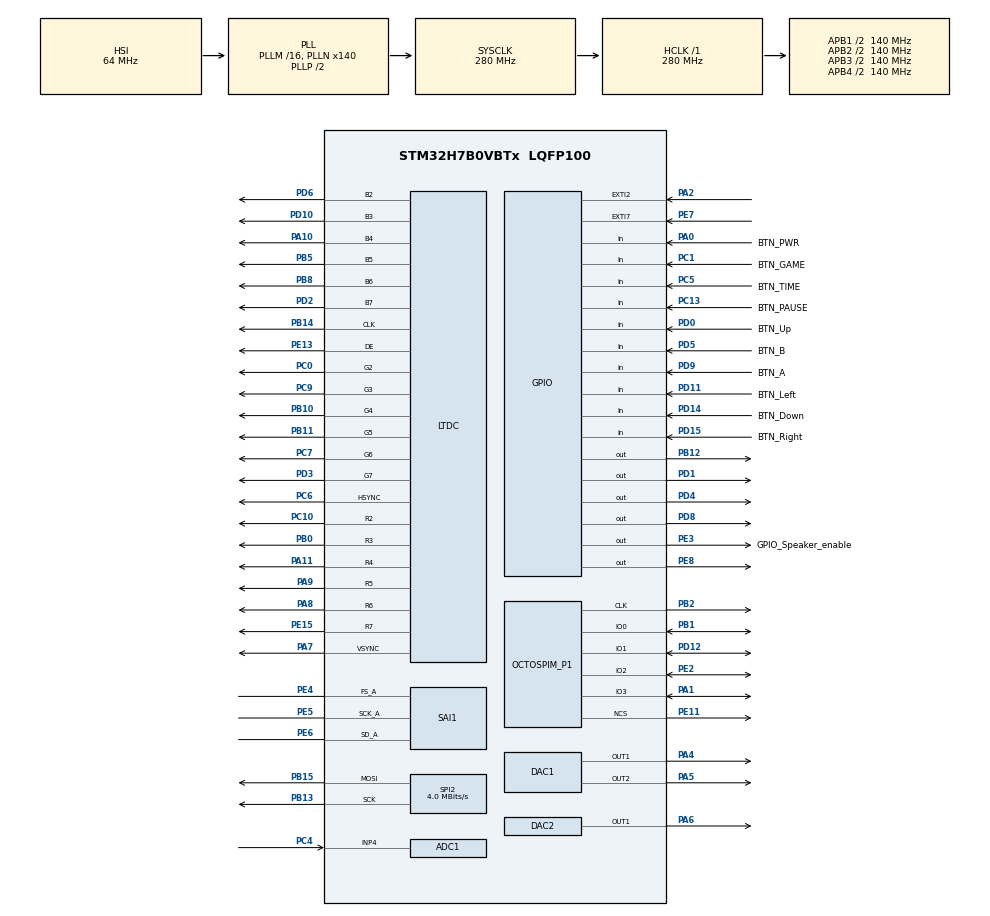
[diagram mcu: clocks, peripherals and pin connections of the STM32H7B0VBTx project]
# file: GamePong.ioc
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ADC1.Channel-1\#ChannelRegularConversion=ADC_CHANNEL_4
ADC1.NbrOfConversionFlag=1
ADC1.OffsetNumber-1\#ChannelRegularConversion=ADC_OFFSET_NONE
ADC1.OffsetSignedSaturation-1\#ChannelRegularConversion=DISABLE
ADC1.Rank-1\#ChannelRegularConversion=1
ADC1.SamplingTime-1\#ChannelRegularConversion=ADC_SAMPLETIME_1CYCLE_5
ADC1.master=1
CORTEX_M7.AccessPermission-Cortex_Memory_Protection_Unit_Region0_Settings=MPU_REGION_FULL_ACCESS
CORTEX_M7.AccessPermission-Cortex_Memory_Protection_Unit_Region1_Settings=MPU_REGION_FULL_ACCESS
CORTEX_M7.BaseAddress-Cortex_Memory_Protection_Unit_Region0_Settings=0x30000000
CORTEX_M7.BaseAddress-Cortex_Memory_Protection_Unit_Region1_Settings=0x24000000
CORTEX_M7.CPU_ICache=Disabled
CORTEX_M7.DisableExec-Cortex_Memory_Protection_Unit_Region0_Settings=MPU_INSTRUCTION_ACCESS_DISABLE
CORTEX_M7.DisableExec-Cortex_Memory_Protection_Unit_Region1_Settings=MPU_INSTRUCTION_ACCESS_DISABLE
CORTEX_M7.Enable-Cortex_Memory_Protection_Unit_Region0_Settings=MPU_REGION_ENABLE
CORTEX_M7.Enable-Cortex_Memory_Protection_Unit_Region1_Settings=MPU_REGION_ENABLE
CORTEX_M7.MPU_Control=__NULL
CORTEX_M7.Size-Cortex_Memory_Protection_Unit_Region0_Settings=MPU_REGION_SIZE_128KB
CORTEX_M7.Size-Cortex_Memory_Protection_Unit_Region1_Settings=MPU_REGION_SIZE_512KB
DAC1.DAC_Channel-DAC_OUT1=DAC_CHANNEL_1
DAC1.DAC_Channel-DAC_OUT2=DAC_CHANNEL_2
DAC2.DAC_Channel-DAC_OUT1=DAC_CHANNEL_1
DMA2D.ColorMode=DMA2D_OUTPUT_RGB565
DMA2D.Mode=DMA2D_R2M
Dma.Request0=SAI1_A
Dma.SAI1_A.0.Direction=DMA_MEMORY_TO_PERIPH
Dma.SAI1_A.0.EventEnable=DISABLE
Dma.SAI1_A.0.FIFOMode=DMA_FIFOMODE_ENABLE
Dma.SAI1_A.0.FIFOThreshold=DMA_FIFO_THRESHOLD_FULL
Dma.SAI1_A.0.Instance=DMA1_Stream0
Dma.SAI1_A.0.MemBurst=DMA_MBURST_SINGLE
Dma.SAI1_A.0.MemDataAlignment=DMA_MDATAALIGN_HALFWORD
Dma.SAI1_A.0.MemInc=DMA_MINC_ENABLE
Dma.SAI1_A.0.Mode=DMA_CIRCULAR
Dma.SAI1_A.0.PeriphBurst=DMA_PBURST_SINGLE
Dma.SAI1_A.0.PeriphDataAlignment=DMA_PDATAALIGN_HALFWORD
Dma.SAI1_A.0.PeriphInc=DMA_PINC_DISABLE
Dma.SAI1_A.0.Polarity=HAL_DMAMUX_REQ_GEN_RISING
Dma.SAI1_A.0.Priority=DMA_PRIORITY_LOW
Dma.SAI1_A.0.RequestNumber=1
Dma.SAI1_A.0.SignalID=NONE
Dma.SAI1_A.0.SyncEnable=DISABLE
Dma.SAI1_A.0.SyncPolarity=HAL_DMAMUX_SYNC_NO_EVENT
Dma.SAI1_A.0.SyncRequestNumber=1
Dma.SAI1_A.0.SyncSignalID=NONE
LTDC.ActiveH=240
LTDC.ActiveW=320
LTDC.Alpha0_L0=255
LTDC.Alpha_L0=255
LTDC.FBStartAdress_L0=0x24000000
LTDC.Green_L0=255
LTDC.HBP=51
LTDC.HFP=12
LTDC.HSync=10
LTDC.ImageHeight_L0=240
LTDC.ImageWidth_L0=320
LTDC.Layers=0
LTDC.PCPolarity=LTDC_PCPOLARITY_IIPC
LTDC.PixelFormat_L0=LTDC_PIXEL_FORMAT_RGB565
LTDC.VBP=6
LTDC.VFP=8
LTDC.VSync=2
LTDC.WindowX1_L0=320
LTDC.WindowY1_L0=240
Mcu.Family=STM32H7
Mcu.Name=STM32H7B0VBTx
Mcu.Package=LQFP100
NVIC.ADC_IRQn=true\:0\:0\:false\:false\:true\:true\:true\:true
NVIC.DMA1_Stream0_IRQn=true\:0\:0\:false\:false\:true\:false\:true\:true
NVIC.EXTI2_IRQn=true\:0\:0\:false\:false\:true\:true\:true\:true
NVIC.EXTI9_5_IRQn=true\:0\:0\:false\:false\:true\:true\:true\:true
NVIC.LTDC_IRQn=true\:0\:0\:false\:false\:true\:true\:true\:true
NVIC.OCTOSPI1_IRQn=true\:0\:0\:false\:true\:true\:1\:true\:true\:true
NVIC.PriorityGroup=NVIC_PRIORITYGROUP_4
NVIC.SAI1_IRQn=true\:0\:0\:false\:false\:true\:true\:true\:true
NVIC.TIM1_UP_IRQn=true\:0\:0\:false\:false\:true\:true\:true\:true
OCTOSPI1.ChipSelectBoundary=0
OCTOSPI1.ChipSelectHighTime=2
OCTOSPI1.ClockMode=HAL_OSPI_CLOCK_MODE_0
OCTOSPI1.ClockPrescaler=1
OCTOSPI1.DeviceSize=24
OCTOSPI1.FifoThreshold=4
OCTOSPI1.FreeRunningClock=HAL_OSPI_FREERUNCLK_DISABLE
OCTOSPI1.MemoryType=HAL_OSPI_MEMTYPE_MACRONIX
PA0.GPIO_Label=BTN_PWR
PA0.Signal=GPIO_Input
PA1.Mode=OCTOSPI1_IOL_Port1L
PA1.Signal=OCTOSPIM_P1_IO3
PA10.Mode=RGB666
PA10.Signal=LTDC_B4
PA11.Mode=RGB666
PA11.Signal=LTDC_R4
PA2.GPIO_ModeDefaultEXTI=GPIO_MODE_IT_RISING_FALLING
PA2.Signal=GPXTI2
PA4.Signal=COMP_DAC11_group
PA5.Signal=COMP_DAC12_group
PA6.Signal=COMP_DAC21_group
PA7.Mode=RGB666
PA7.Signal=LTDC_VSYNC
PA8.Mode=RGB666
PA8.Signal=LTDC_R6
PA9.Mode=RGB666
PA9.Signal=LTDC_R5
PB0.Mode=RGB666
PB0.Signal=LTDC_R3
PB1.Mode=OCTOSPI1_IOL_Port1L
PB1.Signal=OCTOSPIM_P1_IO0
PB10.Mode=RGB666
PB10.Signal=LTDC_G4
PB11.Mode=RGB666
PB11.Signal=LTDC_G5
PB12.PinState=GPIO_PIN_SET
PB12.Signal=GPIO_Output
PB13.Mode=TX_Only_Simplex_Unidirect_Master
PB13.Signal=SPI2_SCK
PB14.Mode=RGB666
PB14.Signal=LTDC_CLK
PB15.Mode=TX_Only_Simplex_Unidirect_Master
PB15.Signal=SPI2_MOSI
PB2.Mode=O1_P1_CLK
PB2.Signal=OCTOSPIM_P1_CLK
PB5.Mode=RGB666
PB5.Signal=LTDC_B5
PB8.Mode=RGB666
PB8.Signal=LTDC_B6
PC0.Mode=RGB666
PC0.Signal=LTDC_G2
PC1.GPIO_Label=BTN_GAME
PC1.GPIO_PuPd=GPIO_PULLUP
PC1.Signal=GPIO_Input
PC10.Mode=RGB666
PC10.Signal=LTDC_R2
PC13.GPIO_Label=BTN_PAUSE
PC13.GPIO_PuPd=GPIO_PULLUP
PC13.Signal=GPIO_Input
PC14-OSC32_IN.Mode=LSE-External-Oscillator
PC14-OSC32_IN.Signal=RCC_OSC32_IN
PC15-OSC32_OUT.Mode=LSE-External-Oscillator
PC15-OSC32_OUT.Signal=RCC_OSC32_OUT
PC4.Signal=ADCx_INP4
PC5.GPIO_Label=BTN_TIME
PC5.GPIO_PuPd=GPIO_PULLUP
PC5.Signal=GPIO_Input
PC6.Mode=RGB666
PC6.Signal=LTDC_HSYNC
PC7.Mode=RGB666
PC7.Signal=LTDC_G6
PC9.Mode=RGB666
PC9.Signal=LTDC_G3
PD0.GPIO_Label=BTN_Up
PD0.GPIO_PuPd=GPIO_PULLUP
PD0.Signal=GPIO_Input
PD1.PinState=GPIO_PIN_RESET
PD1.Signal=GPIO_Output
PD10.Mode=RGB666
PD10.Signal=LTDC_B3
PD11.GPIO_Label=BTN_Left
PD11.GPIO_PuPd=GPIO_PULLUP
PD11.Signal=GPIO_Input
PD12.Mode=OCTOSPI1_IOL_Port1L
PD12.Signal=OCTOSPIM_P1_IO1
PD14.GPIO_Label=BTN_Down
PD14.GPIO_PuPd=GPIO_PULLUP
PD14.Signal=GPIO_Input
PD15.GPIO_Label=BTN_Right
PD15.GPIO_PuPd=GPIO_PULLUP
PD15.Signal=GPIO_Input
PD2.Mode=RGB666
PD2.Signal=LTDC_B7
PD3.Mode=RGB666
PD3.Signal=LTDC_G7
PD4.PinState=GPIO_PIN_RESET
PD4.Signal=GPIO_Output
PD5.GPIO_Label=BTN_B
PD5.GPIO_PuPd=GPIO_PULLUP
PD5.Signal=GPIO_Input
PD6.Mode=RGB666
PD6.Signal=LTDC_B2
PD8.PinState=GPIO_PIN_SET
PD8.Signal=GPIO_Output
PD9.GPIO_Label=BTN_A
PD9.GPIO_PuPd=GPIO_PULLUP
PD9.Signal=GPIO_Input
PE11.Mode=OCTOSPI1_Port1_NCS
PE11.Signal=OCTOSPIM_P1_NCS
PE13.Mode=RGB666
PE13.Signal=LTDC_DE
PE15.Mode=RGB666
PE15.Signal=LTDC_R7
PE2.Mode=OCTOSPI1_IOL_Port1L
PE2.Signal=OCTOSPIM_P1_IO2
PE3.GPIO_Label=GPIO_Speaker_enable
PE3.PinState=GPIO_PIN_SET
PE3.Signal=GPIO_Output
PE4.Mode=SAI_A_Master
PE4.Signal=SAI1_FS_A
PE5.Mode=SAI_A_Master
PE5.Signal=SAI1_SCK_A
PE6.Mode=SAI_A_Master
PE6.Signal=SAI1_SD_A
PE7.GPIO_ModeDefaultEXTI=GPIO_MODE_IT_RISING_FALLING
PE7.Signal=GPXTI7
PE8.Signal=GPIO_Output
ProjectManager.HeapSize=0x200
ProjectManager.StackSize=0x400
ProjectManager.TargetToolchain=STM32CubeIDE
RCC.ADCCLockSelection=RCC_ADCCLKSOURCE_PLL3
RCC.ADCFreq_Value=6000000
RCC.APB1Freq_Value=140000000
RCC.APB2Freq_Value=140000000
RCC.APB3Freq_Value=140000000
RCC.APB4Freq_Value=140000000
RCC.CDPPRE=RCC_APB3_DIV2
RCC.CDPPRE1=RCC_APB1_DIV2
RCC.CDPPRE2=RCC_APB2_DIV2
RCC.CortexFreq_Value=280000000
RCC.DIVM1=16
RCC.DIVM2=25
RCC.DIVM3=4
RCC.DIVN1=140
RCC.DIVN2=192
RCC.DIVN3=9
RCC.DIVP2=5
RCC.DIVR2=5
RCC.DIVR3=24
RCC.HCLKFreq_Value=280000000
RCC.PLL3FRACN=0
RCC.QSPICLockSelection=RCC_OSPICLKSOURCE_CLKP
RCC.RCC_TIM_PRescaler_Selection=RCC_TIMPRES_ACTIVATED
RCC.RTCClockSelection=RCC_RTCCLKSOURCE_LSE
RCC.SAI1CLockSelection=RCC_SAI1CLKSOURCE_PLL2
RCC.SPI123CLockSelection=RCC_SPI123CLKSOURCE_CLKP
RCC.SRDPPRE=RCC_APB4_DIV2
RCC.SYSCLKFreq_VALUE=280000000
RCC.SYSCLKSource=RCC_SYSCLKSOURCE_PLLCLK
RCC.USBFreq_Value=280000000
RCC.VDD_VALUE=1.8
RTC.AsynchPrediv=127
RTC.Format=RTC_FORMAT_BIN
RTC.SynchPrediv=255
SAI1.AudioFrequency-SAI_A_Master=SAI_AUDIO_FREQUENCY_48K
SAI1.ErrorAudioFreq-SAI_A_Master=0.0 %
SAI1.FIFOThreshold-SAI_A_Master=SAI_FIFOTHRESHOLD_FULL
SAI1.InitProtocol-SAI_A_Master=Enable
SAI1.Instance-SAI_A_Master=SAI$Index_Block_A
SAI1.MckOutput=SAI_MCK_OUTPUT_DISABLE
SAI1.MonoStereoMode-SAI_A_Master=SAI_MONOMODE
SAI1.RealAudioFreq-SAI_A_Master=48.0 KHz
SAI1.VirtualMode-SAI_A_Master=VM_MASTER
SAI1.VirtualProtocol-SAI_A_BASIC=VM_BASIC_PROTOCOL
SH.ADCx_INP4.0=ADC1_INP4,IN4-Single-Ended
SH.COMP_DAC11_group.0=DAC1_OUT1,DAC_OUT1
SH.COMP_DAC12_group.0=DAC1_OUT2,DAC_OUT2
SH.COMP_DAC21_group.0=DAC2_OUT1,DAC_OUT1
SPI2.BaudRatePrescaler=SPI_BAUDRATEPRESCALER_16
SPI2.CalculateBaudRate=4.0 MBits/s
SPI2.DataSize=SPI_DATASIZE_8BIT
SPI2.Direction=SPI_DIRECTION_2LINES_TXONLY
SPI2.Mode=SPI_MODE_MASTER
SPI2.NSSPMode=SPI_NSS_PULSE_DISABLE
SPI2.VirtualType=VM_MASTER
TIM1.Period=50000
TIM1.Prescaler=14000
VP_DMA2D_VS_DMA2D.Mode=DMA2D_Activate
VP_OCTOSPI1_VS_quad.Mode=quad_mode
VP_RTC_VS_RTC_Activate.Mode=RTC_Enabled
VP_RTC_VS_RTC_Calendar.Mode=RTC_Calendar
VP_SAI1_VP_$IpInstance_SAIA_SAI_BASIC.Mode=SAI_A_BASIC
VP_TIM1_VS_ClockSourceINT.Mode=Internal
board=custom

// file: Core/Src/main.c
/* USER CODE BEGIN Header */
/**
 ******************************************************************************
 * @file           : main.c
 * @brief          : Main program body
 ******************************************************************************
 * @attention
 *
 * Copyright (c) 2022 STMicroelectronics.
 * All rights reserved.
 *
 * This software is licensed under terms that can be found in the LICENSE file
 * in the root directory of this software component.
 * If no LICENSE file comes with this software, it is provided AS-IS.
 *
 ******************************************************************************
 */
/* USER CODE END Header */
#include "main.h"

/* USER CODE BEGIN Includes */
#include <stdio.h>
#include <stdlib.h>
#include <string.h>

#include "gw_hardware/gw_buttons.h"
#include "gw_hardware/gw_flash.h"
#include "gw_hardware/gw_lcd.h"
#include "gw_hardware/gw_bq24072.h"
#include "gw_hardware/gw_rtc.h"
#include "gw_hardware/gw_audio.h"
#include "graphics/graphics.h"

#include "main_menu/main_menu.h"
/* USER CODE END Includes */

ADC_HandleTypeDef hadc1;

DAC_HandleTypeDef hdac1;
DAC_HandleTypeDef hdac2;

DMA2D_HandleTypeDef hdma2d;

LTDC_HandleTypeDef hltdc;

OSPI_HandleTypeDef hospi1;

RTC_HandleTypeDef hrtc;

SAI_HandleTypeDef hsai_BlockA1;
DMA_HandleTypeDef hdma_sai1_a;

SPI_HandleTypeDef hspi2;

TIM_HandleTypeDef htim1;

void SystemClock_Config(void);
void PeriphCommonClock_Config(void);
static void MX_GPIO_Init(void);
static void MX_DMA_Init(void);
static void MX_LTDC_Init(void);
static void MX_SPI2_Init(void);
static void MX_OCTOSPI1_Init(void);
static void MX_SAI1_Init(void);
static void MX_RTC_Init(void);
static void MX_DAC1_Init(void);
static void MX_DAC2_Init(void);
static void MX_ADC1_Init(void);
static void MX_TIM1_Init(void);
static void MX_DMA2D_Init(void);
static void MX_NVIC_Init(void);

int main(void)
{

  /* MCU Configuration--------------------------------------------------------*/

  /* Reset of all peripherals, Initializes the Flash interface and the Systick. */
  HAL_Init();

  /* Configure the system clock */
  SystemClock_Config();

  /* Configure the peripherals common clocks */
  PeriphCommonClock_Config();

  /* Initialize all configured peripherals */
  MX_GPIO_Init();
  MX_DMA_Init();
  MX_LTDC_Init();
  MX_SPI2_Init();
  MX_OCTOSPI1_Init();
  MX_SAI1_Init();
  MX_RTC_Init();
  MX_DAC1_Init();
  MX_DAC2_Init();
  MX_ADC1_Init();
  MX_TIM1_Init();
  MX_DMA2D_Init();

  /* Initialize interrupts */
  MX_NVIC_Init();
  /* USER CODE BEGIN 2 */
	lcd_init(&hspi2, &hltdc);
	lcd_backlight_set(backlightLevels[6]);
  /* USER CODE END 2 */

  /* Infinite loop */
  /* USER CODE BEGIN WHILE */
	OSPI_Init(&hospi1);

	// Sanity check, sometimes this is triggered
	uint32_t add = 0x90000000;
	uint32_t *ptr = (uint32_t*) add;
	if (*ptr == 0x88888888) {
		Error_Handler();
	}

	bq24072_init();

	gw_audio_init();

	RTC_TimeTypeDef sTime = { 0 };
	RTC_DateTypeDef sDate = { 0 };
	HAL_RTC_GetTime(&hrtc, &sTime, RTC_FORMAT_BIN);
	HAL_RTC_GetDate(&hrtc, &sDate, RTC_FORMAT_BIN);
	HAL_ADC_Start(&hadc1);
	HAL_ADC_PollForConversion(&hadc1, HAL_MAX_DELAY);
	srand(HAL_ADC_GetValue(&hadc1) ^ sTime.SubSeconds);

	while (1) {
    /* USER CODE END WHILE */

    /* USER CODE BEGIN 3 */
		main_menu_init();
	}
  /* USER CODE END 3 */
}

void SystemClock_Config(void)
{
  RCC_OscInitTypeDef RCC_OscInitStruct = {0};
  RCC_ClkInitTypeDef RCC_ClkInitStruct = {0};

  /*AXI clock gating */
  RCC->CKGAENR = 0xFFFFFFFF;

  /** Supply configuration update enable
  */
  HAL_PWREx_ConfigSupply(PWR_LDO_SUPPLY);

  /** Configure the main internal regulator output voltage
  */
  __HAL_PWR_VOLTAGESCALING_CONFIG(PWR_REGULATOR_VOLTAGE_SCALE0);

  while(!__HAL_PWR_GET_FLAG(PWR_FLAG_VOSRDY)) {}

  /** Configure LSE Drive Capability
  */
  HAL_PWR_EnableBkUpAccess();
  __HAL_RCC_LSEDRIVE_CONFIG(RCC_LSEDRIVE_LOW);

  /** Initializes the RCC Oscillators according to the specified parameters
  * in the RCC_OscInitTypeDef structure.
  */
  RCC_OscInitStruct.OscillatorType = RCC_OSCILLATORTYPE_HSI|RCC_OSCILLATORTYPE_LSI
                              |RCC_OSCILLATORTYPE_LSE;
  RCC_OscInitStruct.LSEState = RCC_LSE_ON;
  RCC_OscInitStruct.HSIState = RCC_HSI_DIV1;
  RCC_OscInitStruct.HSICalibrationValue = 64;
  RCC_OscInitStruct.LSIState = RCC_LSI_ON;
  RCC_OscInitStruct.PLL.PLLState = RCC_PLL_ON;
  RCC_OscInitStruct.PLL.PLLSource = RCC_PLLSOURCE_HSI;
  RCC_OscInitStruct.PLL.PLLM = 16;
  RCC_OscInitStruct.PLL.PLLN = 140;
  RCC_OscInitStruct.PLL.PLLP = 2;
  RCC_OscInitStruct.PLL.PLLQ = 2;
  RCC_OscInitStruct.PLL.PLLR = 2;
  RCC_OscInitStruct.PLL.PLLRGE = RCC_PLL1VCIRANGE_2;
  RCC_OscInitStruct.PLL.PLLVCOSEL = RCC_PLL1VCOWIDE;
  RCC_OscInitStruct.PLL.PLLFRACN = 0;
  if (HAL_RCC_OscConfig(&RCC_OscInitStruct) != HAL_OK)
  {
    Error_Handler();
  }

  /** Initializes the CPU, AHB and APB buses clocks
  */
  RCC_ClkInitStruct.ClockType = RCC_CLOCKTYPE_HCLK|RCC_CLOCKTYPE_SYSCLK
                              |RCC_CLOCKTYPE_PCLK1|RCC_CLOCKTYPE_PCLK2
                              |RCC_CLOCKTYPE_D3PCLK1|RCC_CLOCKTYPE_D1PCLK1;
  RCC_ClkInitStruct.SYSCLKSource = RCC_SYSCLKSOURCE_PLLCLK;
  RCC_ClkInitStruct.SYSCLKDivider = RCC_SYSCLK_DIV1;
  RCC_ClkInitStruct.AHBCLKDivider = RCC_HCLK_DIV1;
  RCC_ClkInitStruct.APB3CLKDivider = RCC_APB3_DIV2;
  RCC_ClkInitStruct.APB1CLKDivider = RCC_APB1_DIV2;
  RCC_ClkInitStruct.APB2CLKDivider = RCC_APB2_DIV2;
  RCC_ClkInitStruct.APB4CLKDivider = RCC_APB4_DIV2;

  if (HAL_RCC_ClockConfig(&RCC_ClkInitStruct, FLASH_LATENCY_6) != HAL_OK)
  {
    Error_Handler();
  }
}

void PeriphCommonClock_Config(void)
{
  RCC_PeriphCLKInitTypeDef PeriphClkInitStruct = {0};

  /** Initializes the peripherals clock
  */
  PeriphClkInitStruct.PeriphClockSelection = RCC_PERIPHCLK_ADC|RCC_PERIPHCLK_CKPER
                              |RCC_PERIPHCLK_LTDC;
  PeriphClkInitStruct.PLL3.PLL3M = 4;
  PeriphClkInitStruct.PLL3.PLL3N = 9;
  PeriphClkInitStruct.PLL3.PLL3P = 2;
  PeriphClkInitStruct.PLL3.PLL3Q = 2;
  PeriphClkInitStruct.PLL3.PLL3R = 24;
  PeriphClkInitStruct.PLL3.PLL3RGE = RCC_PLL3VCIRANGE_3;
  PeriphClkInitStruct.PLL3.PLL3VCOSEL = RCC_PLL3VCOWIDE;
  PeriphClkInitStruct.PLL3.PLL3FRACN = 0;
  PeriphClkInitStruct.CkperClockSelection = RCC_CLKPSOURCE_HSI;
  PeriphClkInitStruct.AdcClockSelection = RCC_ADCCLKSOURCE_PLL3;
  PeriphClkInitStruct.TIMPresSelection = RCC_TIMPRES_ACTIVATED;

  if (HAL_RCCEx_PeriphCLKConfig(&PeriphClkInitStruct) != HAL_OK)
  {
    Error_Handler();
  }
}

/**
  * @brief NVIC Configuration.
  * @retval None
  */
static void MX_NVIC_Init(void)
{
  /* OCTOSPI1_IRQn interrupt configuration */
  HAL_NVIC_SetPriority(OCTOSPI1_IRQn, 0, 0);
  HAL_NVIC_EnableIRQ(OCTOSPI1_IRQn);
}

static void MX_ADC1_Init(void)
{

  ADC_MultiModeTypeDef multimode = {0};
  ADC_ChannelConfTypeDef sConfig = {0};

  /** Common config
  */
  hadc1.Instance = ADC1;
  hadc1.Init.ClockPrescaler = ADC_CLOCK_ASYNC_DIV1;
  hadc1.Init.Resolution = ADC_RESOLUTION_16B;
  hadc1.Init.ScanConvMode = ADC_SCAN_DISABLE;
  hadc1.Init.EOCSelection = ADC_EOC_SINGLE_CONV;
  hadc1.Init.LowPowerAutoWait = DISABLE;
  hadc1.Init.ContinuousConvMode = DISABLE;
  hadc1.Init.NbrOfConversion = 1;
  hadc1.Init.DiscontinuousConvMode = DISABLE;
  hadc1.Init.ExternalTrigConv = ADC_SOFTWARE_START;
  hadc1.Init.ExternalTrigConvEdge = ADC_EXTERNALTRIGCONVEDGE_NONE;
  hadc1.Init.ConversionDataManagement = ADC_CONVERSIONDATA_DR;
  hadc1.Init.Overrun = ADC_OVR_DATA_PRESERVED;
  hadc1.Init.LeftBitShift = ADC_LEFTBITSHIFT_NONE;
  hadc1.Init.OversamplingMode = DISABLE;
  if (HAL_ADC_Init(&hadc1) != HAL_OK)
  {
    Error_Handler();
  }

  /** Configure the ADC multi-mode
  */
  multimode.Mode = ADC_MODE_INDEPENDENT;
  if (HAL_ADCEx_MultiModeConfigChannel(&hadc1, &multimode) != HAL_OK)
  {
    Error_Handler();
  }

  /** Configure Regular Channel
  */
  sConfig.Channel = ADC_CHANNEL_4;
  sConfig.Rank = ADC_REGULAR_RANK_1;
  sConfig.SamplingTime = ADC_SAMPLETIME_1CYCLE_5;
  sConfig.SingleDiff = ADC_SINGLE_ENDED;
  sConfig.OffsetNumber = ADC_OFFSET_NONE;
  sConfig.Offset = 0;
  sConfig.OffsetSignedSaturation = DISABLE;
  if (HAL_ADC_ConfigChannel(&hadc1, &sConfig) != HAL_OK)
  {
    Error_Handler();
  }

}

static void MX_DAC1_Init(void)
{

  DAC_ChannelConfTypeDef sConfig = {0};

  /** DAC Initialization
  */
  hdac1.Instance = DAC1;
  if (HAL_DAC_Init(&hdac1) != HAL_OK)
  {
    Error_Handler();
  }

  /** DAC channel OUT1 config
  */
  sConfig.DAC_SampleAndHold = DAC_SAMPLEANDHOLD_DISABLE;
  sConfig.DAC_Trigger = DAC_TRIGGER_NONE;
  sConfig.DAC_OutputBuffer = DAC_OUTPUTBUFFER_ENABLE;
  sConfig.DAC_ConnectOnChipPeripheral = DAC_CHIPCONNECT_DISABLE;
  sConfig.DAC_UserTrimming = DAC_TRIMMING_FACTORY;
  if (HAL_DAC_ConfigChannel(&hdac1, &sConfig, DAC_CHANNEL_1) != HAL_OK)
  {
    Error_Handler();
  }

  /** DAC channel OUT2 config
  */
  if (HAL_DAC_ConfigChannel(&hdac1, &sConfig, DAC_CHANNEL_2) != HAL_OK)
  {
    Error_Handler();
  }

}

static void MX_DAC2_Init(void)
{

  DAC_ChannelConfTypeDef sConfig = {0};

  /** DAC Initialization
  */
  hdac2.Instance = DAC2;
  if (HAL_DAC_Init(&hdac2) != HAL_OK)
  {
    Error_Handler();
  }

  /** DAC channel OUT1 config
  */
  sConfig.DAC_SampleAndHold = DAC_SAMPLEANDHOLD_DISABLE;
  sConfig.DAC_Trigger = DAC_TRIGGER_NONE;
  sConfig.DAC_OutputBuffer = DAC_OUTPUTBUFFER_ENABLE;
  sConfig.DAC_ConnectOnChipPeripheral = DAC_CHIPCONNECT_DISABLE;
  sConfig.DAC_UserTrimming = DAC_TRIMMING_FACTORY;
  if (HAL_DAC_ConfigChannel(&hdac2, &sConfig, DAC_CHANNEL_1) != HAL_OK)
  {
    Error_Handler();
  }

}

static void MX_DMA2D_Init(void)
{

  hdma2d.Instance = DMA2D;
  hdma2d.Init.Mode = DMA2D_R2M;
  hdma2d.Init.ColorMode = DMA2D_OUTPUT_RGB565;
  hdma2d.Init.OutputOffset = 0;
  if (HAL_DMA2D_Init(&hdma2d) != HAL_OK)
  {
    Error_Handler();
  }

}

static void MX_LTDC_Init(void)
{

  LTDC_LayerCfgTypeDef pLayerCfg = {0};

  hltdc.Instance = LTDC;
  hltdc.Init.HSPolarity = LTDC_HSPOLARITY_AL;
  hltdc.Init.VSPolarity = LTDC_VSPOLARITY_AL;
  hltdc.Init.DEPolarity = LTDC_DEPOLARITY_AL;
  hltdc.Init.PCPolarity = LTDC_PCPOLARITY_IIPC;
  hltdc.Init.HorizontalSync = 9;
  hltdc.Init.VerticalSync = 1;
  hltdc.Init.AccumulatedHBP = 60;
  hltdc.Init.AccumulatedVBP = 7;
  hltdc.Init.AccumulatedActiveW = 380;
  hltdc.Init.AccumulatedActiveH = 247;
  hltdc.Init.TotalWidth = 392;
  hltdc.Init.TotalHeigh = 255;
  hltdc.Init.Backcolor.Blue = 0;
  hltdc.Init.Backcolor.Green = 0;
  hltdc.Init.Backcolor.Red = 0;
  if (HAL_LTDC_Init(&hltdc) != HAL_OK)
  {
    Error_Handler();
  }
  pLayerCfg.WindowX0 = 0;
  pLayerCfg.WindowX1 = 320;
  pLayerCfg.WindowY0 = 0;
  pLayerCfg.WindowY1 = 240;
  pLayerCfg.PixelFormat = LTDC_PIXEL_FORMAT_RGB565;
  pLayerCfg.Alpha = 255;
  pLayerCfg.Alpha0 = 255;
  pLayerCfg.BlendingFactor1 = LTDC_BLENDING_FACTOR1_CA;
  pLayerCfg.BlendingFactor2 = LTDC_BLENDING_FACTOR2_CA;
  pLayerCfg.FBStartAdress = 0x24000000;
  pLayerCfg.ImageWidth = 320;
  pLayerCfg.ImageHeight = 240;
  pLayerCfg.Backcolor.Blue = 0;
  pLayerCfg.Backcolor.Green = 255;
  pLayerCfg.Backcolor.Red = 0;
  if (HAL_LTDC_ConfigLayer(&hltdc, &pLayerCfg, 0) != HAL_OK)
  {
    Error_Handler();
  }

}

static void MX_OCTOSPI1_Init(void)
{

  OSPIM_CfgTypeDef sOspiManagerCfg = {0};

  /* OCTOSPI1 parameter configuration*/
  hospi1.Instance = OCTOSPI1;
  hospi1.Init.FifoThreshold = 4;
  hospi1.Init.DualQuad = HAL_OSPI_DUALQUAD_DISABLE;
  hospi1.Init.MemoryType = HAL_OSPI_MEMTYPE_MACRONIX;
  hospi1.Init.DeviceSize = 24;
  hospi1.Init.ChipSelectHighTime = 2;
  hospi1.Init.FreeRunningClock = HAL_OSPI_FREERUNCLK_DISABLE;
  hospi1.Init.ClockMode = HAL_OSPI_CLOCK_MODE_0;
  hospi1.Init.WrapSize = HAL_OSPI_WRAP_NOT_SUPPORTED;
  hospi1.Init.ClockPrescaler = 1;
  hospi1.Init.SampleShifting = HAL_OSPI_SAMPLE_SHIFTING_NONE;
  hospi1.Init.DelayHoldQuarterCycle = HAL_OSPI_DHQC_DISABLE;
  hospi1.Init.ChipSelectBoundary = 0;
  hospi1.Init.DelayBlockBypass = HAL_OSPI_DELAY_BLOCK_BYPASSED;
  hospi1.Init.MaxTran = 0;
  hospi1.Init.Refresh = 0;
  if (HAL_OSPI_Init(&hospi1) != HAL_OK)
  {
    Error_Handler();
  }
  sOspiManagerCfg.ClkPort = 1;
  sOspiManagerCfg.NCSPort = 1;
  sOspiManagerCfg.IOLowPort = HAL_OSPIM_IOPORT_1_LOW;
  if (HAL_OSPIM_Config(&hospi1, &sOspiManagerCfg, HAL_OSPI_TIMEOUT_DEFAULT_VALUE) != HAL_OK)
  {
    Error_Handler();
  }

}

static void MX_RTC_Init(void)
{

  RTC_TimeTypeDef sTime = {0};
  RTC_DateTypeDef sDate = {0};

  /* USER CODE BEGIN RTC_Init 1 */
	hrtc.Instance = RTC;
	hrtc.Init.HourFormat = RTC_HOURFORMAT_24;
	hrtc.Init.AsynchPrediv = 127;
	hrtc.Init.SynchPrediv = 255;
	hrtc.Init.OutPut = RTC_OUTPUT_DISABLE;
	hrtc.Init.OutPutPolarity = RTC_OUTPUT_POLARITY_HIGH;
	hrtc.Init.OutPutType = RTC_OUTPUT_TYPE_OPENDRAIN;
	hrtc.Init.OutPutRemap = RTC_OUTPUT_REMAP_NONE;
	if ((RCC->BDCR & RCC_BDCR_RTCEN) != 0) {
		HAL_PWR_EnableBkUpAccess();
		return;
	}
  /* USER CODE END RTC_Init 1 */

  /** Initialize RTC Only
  */
  hrtc.Instance = RTC;
  hrtc.Init.HourFormat = RTC_HOURFORMAT_24;
  hrtc.Init.AsynchPrediv = 127;
  hrtc.Init.SynchPrediv = 255;
  hrtc.Init.OutPut = RTC_OUTPUT_DISABLE;
  hrtc.Init.OutPutPolarity = RTC_OUTPUT_POLARITY_HIGH;
  hrtc.Init.OutPutType = RTC_OUTPUT_TYPE_OPENDRAIN;
  hrtc.Init.OutPutRemap = RTC_OUTPUT_REMAP_NONE;
  if (HAL_RTC_Init(&hrtc) != HAL_OK)
  {
    Error_Handler();
  }

  /** Initialize RTC and set the Time and Date
  */
  sTime.Hours = 0;
  sTime.Minutes = 0;
  sTime.Seconds = 0;
  sTime.DayLightSaving = RTC_DAYLIGHTSAVING_NONE;
  sTime.StoreOperation = RTC_STOREOPERATION_RESET;
  if (HAL_RTC_SetTime(&hrtc, &sTime, RTC_FORMAT_BIN) != HAL_OK)
  {
    Error_Handler();
  }
  sDate.WeekDay = RTC_WEEKDAY_MONDAY;
  sDate.Month = RTC_MONTH_JANUARY;
  sDate.Date = 1;
  sDate.Year = 0;

  if (HAL_RTC_SetDate(&hrtc, &sDate, RTC_FORMAT_BIN) != HAL_OK)
  {
    Error_Handler();
  }

}

static void MX_SAI1_Init(void)
{

  hsai_BlockA1.Instance = SAI1_Block_A;
  hsai_BlockA1.Init.AudioMode = SAI_MODEMASTER_TX;
  hsai_BlockA1.Init.Synchro = SAI_ASYNCHRONOUS;
  hsai_BlockA1.Init.OutputDrive = SAI_OUTPUTDRIVE_DISABLE;
  hsai_BlockA1.Init.NoDivider = SAI_MASTERDIVIDER_ENABLE;
  hsai_BlockA1.Init.FIFOThreshold = SAI_FIFOTHRESHOLD_FULL;
  hsai_BlockA1.Init.AudioFrequency = SAI_AUDIO_FREQUENCY_48K;
  hsai_BlockA1.Init.SynchroExt = SAI_SYNCEXT_DISABLE;
  hsai_BlockA1.Init.MonoStereoMode = SAI_MONOMODE;
  hsai_BlockA1.Init.CompandingMode = SAI_NOCOMPANDING;
  hsai_BlockA1.Init.TriState = SAI_OUTPUT_NOTRELEASED;
  if (HAL_SAI_InitProtocol(&hsai_BlockA1, SAI_I2S_STANDARD, SAI_PROTOCOL_DATASIZE_16BIT, 2) != HAL_OK)
  {
    Error_Handler();
  }

}

static void MX_SPI2_Init(void)
{

  /* SPI2 parameter configuration*/
  hspi2.Instance = SPI2;
  hspi2.Init.Mode = SPI_MODE_MASTER;
  hspi2.Init.Direction = SPI_DIRECTION_2LINES_TXONLY;
  hspi2.Init.DataSize = SPI_DATASIZE_8BIT;
  hspi2.Init.CLKPolarity = SPI_POLARITY_LOW;
  hspi2.Init.CLKPhase = SPI_PHASE_1EDGE;
  hspi2.Init.NSS = SPI_NSS_SOFT;
  hspi2.Init.BaudRatePrescaler = SPI_BAUDRATEPRESCALER_16;
  hspi2.Init.FirstBit = SPI_FIRSTBIT_MSB;
  hspi2.Init.TIMode = SPI_TIMODE_DISABLE;
  hspi2.Init.CRCCalculation = SPI_CRCCALCULATION_DISABLE;
  hspi2.Init.CRCPolynomial = 0x0;
  hspi2.Init.NSSPMode = SPI_NSS_PULSE_DISABLE;
  hspi2.Init.NSSPolarity = SPI_NSS_POLARITY_LOW;
  hspi2.Init.FifoThreshold = SPI_FIFO_THRESHOLD_01DATA;
  hspi2.Init.TxCRCInitializationPattern = SPI_CRC_INITIALIZATION_ALL_ZERO_PATTERN;
  hspi2.Init.RxCRCInitializationPattern = SPI_CRC_INITIALIZATION_ALL_ZERO_PATTERN;
  hspi2.Init.MasterSSIdleness = SPI_MASTER_SS_IDLENESS_00CYCLE;
  hspi2.Init.MasterInterDataIdleness = SPI_MASTER_INTERDATA_IDLENESS_00CYCLE;
  hspi2.Init.MasterReceiverAutoSusp = SPI_MASTER_RX_AUTOSUSP_DISABLE;
  hspi2.Init.MasterKeepIOState = SPI_MASTER_KEEP_IO_STATE_DISABLE;
  hspi2.Init.IOSwap = SPI_IO_SWAP_DISABLE;
  if (HAL_SPI_Init(&hspi2) != HAL_OK)
  {
    Error_Handler();
  }

}

static void MX_TIM1_Init(void)
{

  TIM_ClockConfigTypeDef sClockSourceConfig = {0};
  TIM_MasterConfigTypeDef sMasterConfig = {0};

  htim1.Instance = TIM1;
  htim1.Init.Prescaler = 14000;
  htim1.Init.CounterMode = TIM_COUNTERMODE_UP;
  htim1.Init.Period = 50000;
  htim1.Init.ClockDivision = TIM_CLOCKDIVISION_DIV1;
  htim1.Init.RepetitionCounter = 0;
  htim1.Init.AutoReloadPreload = TIM_AUTORELOAD_PRELOAD_DISABLE;
  if (HAL_TIM_Base_Init(&htim1) != HAL_OK)
  {
    Error_Handler();
  }
  sClockSourceConfig.ClockSource = TIM_CLOCKSOURCE_INTERNAL;
  if (HAL_TIM_ConfigClockSource(&htim1, &sClockSourceConfig) != HAL_OK)
  {
    Error_Handler();
  }
  sMasterConfig.MasterOutputTrigger = TIM_TRGO_RESET;
  sMasterConfig.MasterOutputTrigger2 = TIM_TRGO2_RESET;
  sMasterConfig.MasterSlaveMode = TIM_MASTERSLAVEMODE_DISABLE;
  if (HAL_TIMEx_MasterConfigSynchronization(&htim1, &sMasterConfig) != HAL_OK)
  {
    Error_Handler();
  }

}

static void MX_DMA_Init(void)
{

  /* DMA controller clock enable */
  __HAL_RCC_DMA1_CLK_ENABLE();

  /* DMA interrupt init */
  /* DMA1_Stream0_IRQn interrupt configuration */
  HAL_NVIC_SetPriority(DMA1_Stream0_IRQn, 0, 0);
  HAL_NVIC_EnableIRQ(DMA1_Stream0_IRQn);

}

static void MX_GPIO_Init(void)
{
  GPIO_InitTypeDef GPIO_InitStruct = {0};

  /* GPIO Ports Clock Enable */
  __HAL_RCC_GPIOE_CLK_ENABLE();
  __HAL_RCC_GPIOC_CLK_ENABLE();
  __HAL_RCC_GPIOA_CLK_ENABLE();
  __HAL_RCC_GPIOB_CLK_ENABLE();
  __HAL_RCC_GPIOD_CLK_ENABLE();

  /*Configure GPIO pin Output Level */
  HAL_GPIO_WritePin(GPIO_Speaker_enable_GPIO_Port, GPIO_Speaker_enable_Pin, GPIO_PIN_SET);

  /*Configure GPIO pin Output Level */
  HAL_GPIO_WritePin(GPIOE, GPIO_PIN_8, GPIO_PIN_RESET);

  /*Configure GPIO pin Output Level */
  HAL_GPIO_WritePin(GPIOB, GPIO_PIN_12, GPIO_PIN_SET);

  /*Configure GPIO pin Output Level */
  HAL_GPIO_WritePin(GPIOD, GPIO_PIN_8, GPIO_PIN_SET);

  /*Configure GPIO pin Output Level */
  HAL_GPIO_WritePin(GPIOD, GPIO_PIN_1|GPIO_PIN_4, GPIO_PIN_RESET);

  /*Configure GPIO pins : GPIO_Speaker_enable_Pin PE8 */
  GPIO_InitStruct.Pin = GPIO_Speaker_enable_Pin|GPIO_PIN_8;
  GPIO_InitStruct.Mode = GPIO_MODE_OUTPUT_PP;
  GPIO_InitStruct.Pull = GPIO_NOPULL;
  GPIO_InitStruct.Speed = GPIO_SPEED_FREQ_LOW;
  HAL_GPIO_Init(GPIOE, &GPIO_InitStruct);

  /*Configure GPIO pins : BTN_PAUSE_Pin BTN_GAME_Pin BTN_TIME_Pin */
  GPIO_InitStruct.Pin = BTN_PAUSE_Pin|BTN_GAME_Pin|BTN_TIME_Pin;
  GPIO_InitStruct.Mode = GPIO_MODE_INPUT;
  GPIO_InitStruct.Pull = GPIO_PULLUP;
  HAL_GPIO_Init(GPIOC, &GPIO_InitStruct);

  /*Configure GPIO pin : BTN_PWR_Pin */
  GPIO_InitStruct.Pin = BTN_PWR_Pin;
  GPIO_InitStruct.Mode = GPIO_MODE_INPUT;
  GPIO_InitStruct.Pull = GPIO_NOPULL;
  HAL_GPIO_Init(BTN_PWR_GPIO_Port, &GPIO_InitStruct);

  /*Configure GPIO pin : PA2 */
  GPIO_InitStruct.Pin = GPIO_PIN_2;
  GPIO_InitStruct.Mode = GPIO_MODE_IT_RISING_FALLING;
  GPIO_InitStruct.Pull = GPIO_NOPULL;
  HAL_GPIO_Init(GPIOA, &GPIO_InitStruct);

  /*Configure GPIO pin : PE7 */
  GPIO_InitStruct.Pin = GPIO_PIN_7;
  GPIO_InitStruct.Mode = GPIO_MODE_IT_RISING_FALLING;
  GPIO_InitStruct.Pull = GPIO_NOPULL;
  HAL_GPIO_Init(GPIOE, &GPIO_InitStruct);

  /*Configure GPIO pin : PB12 */
  GPIO_InitStruct.Pin = GPIO_PIN_12;
  GPIO_InitStruct.Mode = GPIO_MODE_OUTPUT_PP;
  GPIO_InitStruct.Pull = GPIO_NOPULL;
  GPIO_InitStruct.Speed = GPIO_SPEED_FREQ_LOW;
  HAL_GPIO_Init(GPIOB, &GPIO_InitStruct);

  /*Configure GPIO pins : PD8 PD1 PD4 */
  GPIO_InitStruct.Pin = GPIO_PIN_8|GPIO_PIN_1|GPIO_PIN_4;
  GPIO_InitStruct.Mode = GPIO_MODE_OUTPUT_PP;
  GPIO_InitStruct.Pull = GPIO_NOPULL;
  GPIO_InitStruct.Speed = GPIO_SPEED_FREQ_LOW;
  HAL_GPIO_Init(GPIOD, &GPIO_InitStruct);

  /*Configure GPIO pins : BTN_A_Pin BTN_Left_Pin BTN_Down_Pin BTN_Right_Pin
                           BTN_Up_Pin BTN_B_Pin */
  GPIO_InitStruct.Pin = BTN_A_Pin|BTN_Left_Pin|BTN_Down_Pin|BTN_Right_Pin
                          |BTN_Up_Pin|BTN_B_Pin;
  GPIO_InitStruct.Mode = GPIO_MODE_INPUT;
  GPIO_InitStruct.Pull = GPIO_PULLUP;
  HAL_GPIO_Init(GPIOD, &GPIO_InitStruct);

  /* EXTI interrupt init*/
  HAL_NVIC_SetPriority(EXTI2_IRQn, 0, 0);
  HAL_NVIC_EnableIRQ(EXTI2_IRQn);

  HAL_NVIC_SetPriority(EXTI9_5_IRQn, 0, 0);
  HAL_NVIC_EnableIRQ(EXTI9_5_IRQn);

}

void Error_Handler(void)
{
	__disable_irq();
	while (1) {
	}
}
